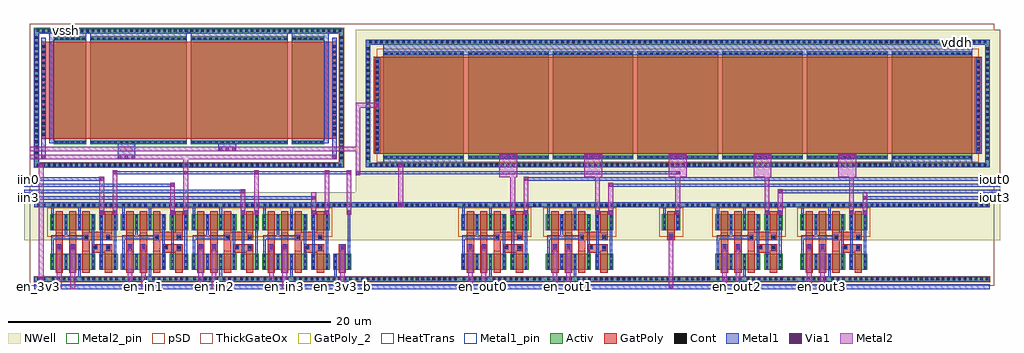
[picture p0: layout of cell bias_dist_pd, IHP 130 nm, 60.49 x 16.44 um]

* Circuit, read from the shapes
.subckt bias_dist_pd en_3v3 en_3v3_b en_in0 en_in1 en_in2 en_in3 en_out0 en_out1 en_out2 en_out3 iin0 iin1 iin2 iin3 iout0 iout1 iout2 iout3 vddh vssh
XM1 vssh n1 vssh vssh sg13_hv_nmos w=2u l=6u m=2
XM2 n2 en_3v3 n3 vssh sg13_hv_nmos w=1u l=0.45u
XM3 vssh en_in0 n2 vssh sg13_hv_nmos w=1u l=0.45u
XM4 n4 n3 vssh vssh sg13_hv_nmos w=1u l=0.45u
XM5 vssh n1 n1 vssh sg13_hv_nmos w=6u l=6u
XM6 n1 n4 iin0 vssh sg13_hv_nmos w=1u l=0.45u
XM7 n5 en_3v3 n6 vssh sg13_hv_nmos w=1u l=0.45u
XM8 vssh en_in1 n5 vssh sg13_hv_nmos w=1u l=0.45u
XM9 n7 n6 vssh vssh sg13_hv_nmos w=1u l=0.45u
XM10 n1 n7 iin1 vssh sg13_hv_nmos w=1u l=0.45u
XM11 vssh n1 n8 vssh sg13_hv_nmos w=6u l=6u
XM12 n9 en_3v3 n10 vssh sg13_hv_nmos w=1u l=0.45u
XM13 vssh en_in2 n9 vssh sg13_hv_nmos w=1u l=0.45u
XM14 n11 n10 vssh vssh sg13_hv_nmos w=1u l=0.45u
XM15 n1 n11 iin2 vssh sg13_hv_nmos w=1u l=0.45u
XM16 n12 en_3v3 n13 vssh sg13_hv_nmos w=1u l=0.45u
XM17 vssh en_in3 n12 vssh sg13_hv_nmos w=1u l=0.45u
XM18 n14 n13 vssh vssh sg13_hv_nmos w=1u l=0.45u
XM19 n1 n14 iin3 vssh sg13_hv_nmos w=1u l=0.45u
XM20 n1 en_3v3_b vssh vssh sg13_hv_nmos w=1u l=0.45u
XM21 n15 en_3v3 n16 vssh sg13_hv_nmos w=1u l=0.45u
XM22 vssh en_out0 n15 vssh sg13_hv_nmos w=1u l=0.45u
XM23 n17 n16 vssh vssh sg13_hv_nmos w=1u l=0.45u
XM24 iout0 n17 n18 vssh sg13_hv_nmos w=1u l=0.45u
XM25 n19 en_3v3 n20 vssh sg13_hv_nmos w=1u l=0.45u
XM26 vssh en_out1 n19 vssh sg13_hv_nmos w=1u l=0.45u
XM27 n21 n20 vssh vssh sg13_hv_nmos w=1u l=0.45u
XM28 iout1 n21 n22 vssh sg13_hv_nmos w=1u l=0.45u
XM29 n23 en_3v3 n24 vssh sg13_hv_nmos w=1u l=0.45u
XM30 vssh en_out2 n23 vssh sg13_hv_nmos w=1u l=0.45u
XM31 n25 n24 vssh vssh sg13_hv_nmos w=1u l=0.45u
XM32 iout2 n25 n26 vssh sg13_hv_nmos w=1u l=0.45u
XM33 n27 en_3v3 n28 vssh sg13_hv_nmos w=1u l=0.45u
XM34 vssh en_out3 n27 vssh sg13_hv_nmos w=1u l=0.45u
XM35 n29 n28 vssh vssh sg13_hv_nmos w=1u l=0.45u
XM36 iout3 n29 n30 vssh sg13_hv_nmos w=1u l=0.45u
XM37 n3 en_3v3 vddh vddh sg13_hv_pmos w=1u l=0.45u
XM38 vddh en_in0 n3 vddh sg13_hv_pmos w=1u l=0.45u
XM39 n4 n3 vddh vddh sg13_hv_pmos w=1u l=0.45u
XM40 n1 n3 iin0 vddh sg13_hv_pmos w=1u l=0.45u
XM41 n6 en_3v3 vddh vddh sg13_hv_pmos w=1u l=0.45u
XM42 vddh en_in1 n6 vddh sg13_hv_pmos w=1u l=0.45u
XM43 n7 n6 vddh vddh sg13_hv_pmos w=1u l=0.45u
XM44 n1 n6 iin1 vddh sg13_hv_pmos w=1u l=0.45u
XM45 n10 en_3v3 vddh vddh sg13_hv_pmos w=1u l=0.45u
XM46 vddh en_in2 n10 vddh sg13_hv_pmos w=1u l=0.45u
XM47 n11 n10 vddh vddh sg13_hv_pmos w=1u l=0.45u
XM48 n1 n10 iin2 vddh sg13_hv_pmos w=1u l=0.45u
XM49 n13 en_3v3 vddh vddh sg13_hv_pmos w=1u l=0.45u
XM50 vddh en_in3 n13 vddh sg13_hv_pmos w=1u l=0.45u
XM51 n14 n13 vddh vddh sg13_hv_pmos w=1u l=0.45u
XM52 n1 n13 iin3 vddh sg13_hv_pmos w=1u l=0.45u
XM53 vddh n8 vddh vddh sg13_hv_pmos w=5u l=6u m=2
XM54 n16 en_3v3 vddh vddh sg13_hv_pmos w=1u l=0.45u
XM55 vddh n8 n18 vddh sg13_hv_pmos w=5u l=6u
XM56 vddh en_out0 n16 vddh sg13_hv_pmos w=1u l=0.45u
XM57 n17 n16 vddh vddh sg13_hv_pmos w=1u l=0.45u
XM58 iout0 n16 n18 vddh sg13_hv_pmos w=1u l=0.45u
XM59 n20 en_3v3 vddh vddh sg13_hv_pmos w=1u l=0.45u
XM60 vddh n8 n22 vddh sg13_hv_pmos w=5u l=6u
XM61 vddh en_out1 n20 vddh sg13_hv_pmos w=1u l=0.45u
XM62 n21 n20 vddh vddh sg13_hv_pmos w=1u l=0.45u
XM63 iout1 n20 n22 vddh sg13_hv_pmos w=1u l=0.45u
XM64 vddh n8 n8 vddh sg13_hv_pmos w=5u l=6u
XM65 n8 en_3v3 vddh vddh sg13_hv_pmos w=1u l=0.45u
XM66 n24 en_3v3 vddh vddh sg13_hv_pmos w=1u l=0.45u
XM67 vddh n8 n26 vddh sg13_hv_pmos w=5u l=6u
XM68 vddh en_out2 n24 vddh sg13_hv_pmos w=1u l=0.45u
XM69 n25 n24 vddh vddh sg13_hv_pmos w=1u l=0.45u
XM70 iout2 n24 n26 vddh sg13_hv_pmos w=1u l=0.45u
XM71 n28 en_3v3 vddh vddh sg13_hv_pmos w=1u l=0.45u
XM72 vddh n8 n30 vddh sg13_hv_pmos w=5u l=6u
XM73 vddh en_out3 n28 vddh sg13_hv_pmos w=1u l=0.45u
XM74 n29 n28 vddh vddh sg13_hv_pmos w=1u l=0.45u
XM75 iout3 n28 n30 vddh sg13_hv_pmos w=1u l=0.45u
.ends

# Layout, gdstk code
from math import pi, radians
import gdstk
lib = gdstk.Library(unit=1e-6, precision=1e-09)
def R(c, l, rs):  # rectangles x0, y0, x1, y1
    for r in rs: c.add(gdstk.rectangle(r[:2], r[2:], *l))
def A(c, l, x, y, w, h, nx, ny, dx, dy):  # array of equal rectangles
    R(c, l, [(x+i*dx, y+j*dy, x+i*dx+w, y+j*dy+h) for i in range(nx) for j in range(ny)])
Activ = (1, 0)
GatPoly = (5, 0)
GatPoly_2 = (5, 2)
Cont = (6, 0)
Metal1 = (8, 0)
Metal1_pin = (8, 2)
Metal2 = (10, 0)
Metal2_pin = (10, 2)
pSD = (14, 0)
Via1 = (19, 0)
NWell = (31, 0)
ThickGateOx = (44, 0)
HeatTrans = (51, 0)

bdp_pmoshv_w2_l0p45_ng2 = lib.new_cell('bdp_pmosHV_w2_l0p45_ng2')
A(bdp_pmoshv_w2_l0p45_ng2, Activ, 0, 0, 0.3, 0.3, 3, 1, 0.83, 0)
R(bdp_pmoshv_w2_l0p45_ng2, Activ, [(0,0,1.96,1)])
R(bdp_pmoshv_w2_l0p45_ng2, GatPoly, [(0.34,-0.18,0.79,1.18), (1.17,-0.18,1.62,1.18)])
R(bdp_pmoshv_w2_l0p45_ng2, GatPoly_2, [(0.34,-0.18,0.79,1.18)])
A(bdp_pmoshv_w2_l0p45_ng2, Cont, 0.07, 0.07, 0.16, 0.16, 3, 3, 0.83, 0.35)
A(bdp_pmoshv_w2_l0p45_ng2, Metal1, 0.07, 0, 0.16, 1, 3, 1, 0.83, 0)
R(bdp_pmoshv_w2_l0p45_ng2, Metal1_pin, [(0.07,0,0.23,1), (0.9,0,1.06,1)])
R(bdp_pmoshv_w2_l0p45_ng2, pSD, [(-0.18,-0.4,2.14,1.4)])
R(bdp_pmoshv_w2_l0p45_ng2, NWell, [(-0.62,-0.62,2.58,1.62)])
R(bdp_pmoshv_w2_l0p45_ng2, ThickGateOx, [(-0.62,-0.62,2.58,1.62)])
R(bdp_pmoshv_w2_l0p45_ng2, HeatTrans, [(0.34,-0.18,0.79,1.18), (1.17,-0.18,1.62,1.18)])
bdp_pmoshv_w2_l0p45_ng2.add(gdstk.Label('pmosHV', (0.565,0.5), layer=63, texttype=0))
bdp_pmoshv_w2_l0p45_ng2.add(gdstk.Label('pmos', (0.565,0.5), layer=51, texttype=0))
bdp_pmoshv_w2_l0p45_ng2.add(gdstk.Label('pmos', (1.395,0.5), layer=51, texttype=0))

bdp_nmoshv_w2_l0p45_ng2 = lib.new_cell('bdp_nmosHV_w2_l0p45_ng2')
A(bdp_nmoshv_w2_l0p45_ng2, Activ, 0, 0, 0.3, 0.3, 3, 1, 0.83, 0)
R(bdp_nmoshv_w2_l0p45_ng2, Activ, [(0,0,1.96,1)])
R(bdp_nmoshv_w2_l0p45_ng2, GatPoly, [(0.34,-0.18,0.79,1.18), (1.17,-0.18,1.62,1.18)])
R(bdp_nmoshv_w2_l0p45_ng2, GatPoly_2, [(0.34,-0.18,0.79,1.18)])
A(bdp_nmoshv_w2_l0p45_ng2, Cont, 0.07, 0.07, 0.16, 0.16, 3, 3, 0.83, 0.35)
A(bdp_nmoshv_w2_l0p45_ng2, Metal1, 0.07, 0, 0.16, 1, 3, 1, 0.83, 0)
R(bdp_nmoshv_w2_l0p45_ng2, Metal1_pin, [(0.07,0,0.23,1), (0.9,0,1.06,1)])
R(bdp_nmoshv_w2_l0p45_ng2, ThickGateOx, [(-0.27,-0.52,2.23,1.52)])
R(bdp_nmoshv_w2_l0p45_ng2, HeatTrans, [(0.34,-0.18,0.79,1.18), (1.17,-0.18,1.62,1.18)])
bdp_nmoshv_w2_l0p45_ng2.add(gdstk.Label('nmosHV', (0.565,0.5), layer=63, texttype=0))
bdp_nmoshv_w2_l0p45_ng2.add(gdstk.Label('nmosHV', (0.565,0.5), layer=51, texttype=0))
bdp_nmoshv_w2_l0p45_ng2.add(gdstk.Label('nmosHV', (1.395,0.5), layer=51, texttype=0))

bdp_nand2_hv = lib.new_cell('bdp_nand2_hv')
R(bdp_nand2_hv, Activ, [(-0.105,0,1.96,0.3), (-0.105,4.6,1.96,4.9)])
R(bdp_nand2_hv, GatPoly, [(0.34,1.91,0.79,2.99), (1.17,1.91,1.62,2.99)])
A(bdp_nand2_hv, Cont, 0.09, 0.07, 0.16, 0.16, 5, 2, 0.34, 4.6)
R(bdp_nand2_hv, Cont, [(0.485,2.04,0.645,2.2), (1.315,2.04,1.475,2.2)])
R(bdp_nand2_hv, Metal1, [(-0.105,0,1.96,0.3), (1.73,0.3,1.89,0.73), (0.07,1.73,0.23,2.87), (0.435,1.97,0.695,2.32), (1.265,1.97,1.525,2.32), (0.07,2.61,1.06,2.87), (0.9,2.61,1.06,3.17), (0.07,4.17,0.23,4.6), (1.73,4.17,1.89,4.6), (-0.105,4.6,1.96,4.9)])
R(bdp_nand2_hv, pSD, [(-0.135,-0.03,1.99,0.33)])
R(bdp_nand2_hv, NWell, [(-0.725,2.55,2.58,5.52)])
R(bdp_nand2_hv, ThickGateOx, [(-0.375,-0.27,2.23,5.17)])
bdp_nand2_hv.add(gdstk.Reference(bdp_pmoshv_w2_l0p45_ng2, (0,3.17)))
bdp_nand2_hv.add(gdstk.Reference(bdp_nmoshv_w2_l0p45_ng2, (0,0.73)))
bdp_nand2_hv.add(gdstk.Label('PA PB', (0.98,3.67), layer=63, texttype=0))
bdp_nand2_hv.add(gdstk.Label('NA NB', (0.98,1.23), layer=63, texttype=0))

bdp_pmoshv_w1_l0p45 = lib.new_cell('bdp_pmosHV_w1_l0p45')
R(bdp_pmoshv_w1_l0p45, Activ, [(0,0,0.3,0.3), (0,0,1.13,1), (0.83,0,1.13,0.3)])
R(bdp_pmoshv_w1_l0p45, GatPoly, [(0.34,-0.18,0.79,1.18)])
R(bdp_pmoshv_w1_l0p45, GatPoly_2, [(0.34,-0.18,0.79,1.18)])
A(bdp_pmoshv_w1_l0p45, Cont, 0.07, 0.07, 0.16, 0.16, 1, 3, 0, 0.35)
A(bdp_pmoshv_w1_l0p45, Cont, 0.9, 0.07, 0.16, 0.16, 1, 3, 0, 0.35)
R(bdp_pmoshv_w1_l0p45, Metal1, [(0.07,0,0.23,1), (0.9,0,1.06,1)])
R(bdp_pmoshv_w1_l0p45, Metal1_pin, [(0.07,0,0.23,1), (0.9,0,1.06,1)])
R(bdp_pmoshv_w1_l0p45, pSD, [(-0.18,-0.4,1.31,1.4)])
R(bdp_pmoshv_w1_l0p45, NWell, [(-0.62,-0.62,1.75,1.62)])
R(bdp_pmoshv_w1_l0p45, ThickGateOx, [(-0.62,-0.62,1.75,1.62)])
R(bdp_pmoshv_w1_l0p45, HeatTrans, [(0.34,-0.18,0.79,1.18)])
bdp_pmoshv_w1_l0p45.add(gdstk.Label('pmosHV', (0.565,0.5), layer=63, texttype=0))
bdp_pmoshv_w1_l0p45.add(gdstk.Label('pmos', (0.565,0.5), layer=51, texttype=0))

bdp_nmoshv_w1_l0p45 = lib.new_cell('bdp_nmosHV_w1_l0p45')
R(bdp_nmoshv_w1_l0p45, Activ, [(0,0,0.3,0.3), (0,0,1.13,1), (0.83,0,1.13,0.3)])
R(bdp_nmoshv_w1_l0p45, GatPoly, [(0.34,-0.18,0.79,1.18)])
R(bdp_nmoshv_w1_l0p45, GatPoly_2, [(0.34,-0.18,0.79,1.18)])
A(bdp_nmoshv_w1_l0p45, Cont, 0.07, 0.07, 0.16, 0.16, 1, 3, 0, 0.35)
A(bdp_nmoshv_w1_l0p45, Cont, 0.9, 0.07, 0.16, 0.16, 1, 3, 0, 0.35)
R(bdp_nmoshv_w1_l0p45, Metal1, [(0.07,0,0.23,1), (0.9,0,1.06,1)])
R(bdp_nmoshv_w1_l0p45, Metal1_pin, [(0.07,0,0.23,1), (0.9,0,1.06,1)])
R(bdp_nmoshv_w1_l0p45, ThickGateOx, [(-0.27,-0.52,1.4,1.52)])
R(bdp_nmoshv_w1_l0p45, HeatTrans, [(0.34,-0.18,0.79,1.18)])
bdp_nmoshv_w1_l0p45.add(gdstk.Label('nmosHV', (0.565,0.5), layer=63, texttype=0))
bdp_nmoshv_w1_l0p45.add(gdstk.Label('nmosHV', (0.565,0.5), layer=51, texttype=0))

bdp_inv_hv = lib.new_cell('bdp_inv_hv')
R(bdp_inv_hv, Activ, [(0,0,1.255,0.3), (0,4.6,1.255,4.9)])
R(bdp_inv_hv, GatPoly, [(0.34,1.91,0.79,2.99)])
A(bdp_inv_hv, Cont, 0.28, 0.07, 0.16, 0.16, 3, 2, 0.34, 4.6)
R(bdp_inv_hv, Cont, [(0.485,2.66,0.645,2.82)])
R(bdp_inv_hv, Metal1, [(0,0,1.255,0.3), (0.07,0.3,0.23,0.73), (0.9,1.73,1.06,3.17), (0.435,2.56,0.695,2.91), (0.07,4.17,0.23,4.6), (0,4.6,1.255,4.9)])
R(bdp_inv_hv, pSD, [(-0.03,-0.03,1.285,0.33)])
R(bdp_inv_hv, NWell, [(-0.62,2.55,1.875,5.52)])
R(bdp_inv_hv, ThickGateOx, [(-0.27,-0.27,1.525,5.17)])
bdp_inv_hv.add(gdstk.Reference(bdp_pmoshv_w1_l0p45, (0,3.17)))
bdp_inv_hv.add(gdstk.Reference(bdp_nmoshv_w1_l0p45, (0,0.73)))
bdp_inv_hv.add(gdstk.Label('P', (0.565,3.67), layer=63, texttype=0))
bdp_inv_hv.add(gdstk.Label('N', (0.565,1.23), layer=63, texttype=0))

bdp_tg_hv = lib.new_cell('bdp_tg_hv')
R(bdp_tg_hv, Activ, [(-0.125,0,1.235,0.3), (-0.125,4.6,1.235,4.9)])
R(bdp_tg_hv, GatPoly, [(0.34,1.91,0.79,2.3), (0.34,2.55,0.79,2.99)])
A(bdp_tg_hv, Cont, -0.035, 0.07, 0.16, 0.16, 4, 2, 0.34, 4.6)
R(bdp_tg_hv, Cont, [(0.485,2.04,0.645,2.2), (0.485,2.66,0.645,2.82)])
R(bdp_tg_hv, Metal1, [(-0.125,0,1.235,0.3), (0.07,1.73,0.23,3.17), (0.9,1.73,1.06,3.17), (0.435,1.94,0.695,2.29), (0.435,2.56,0.695,2.91), (-0.125,4.6,1.235,4.9)])
R(bdp_tg_hv, pSD, [(-0.155,-0.03,1.265,0.33)])
R(bdp_tg_hv, NWell, [(-0.745,2.55,1.855,5.52)])
R(bdp_tg_hv, ThickGateOx, [(-0.395,-0.27,1.505,5.17)])
bdp_tg_hv.add(gdstk.Reference(bdp_pmoshv_w1_l0p45, (0,3.17)))
bdp_tg_hv.add(gdstk.Reference(bdp_nmoshv_w1_l0p45, (0,0.73)))
bdp_tg_hv.add(gdstk.Label('TGP', (0.565,3.67), layer=63, texttype=0))
bdp_tg_hv.add(gdstk.Label('TGN', (0.565,1.23), layer=63, texttype=0))

bdp_slice = lib.new_cell('bdp_slice')
R(bdp_slice, GatPoly, [(2.63,1.8,3.83,2.3), (2,2.55,3.83,3.1)])
R(bdp_slice, Cont, [(2.7,2.04,2.86,2.2)])
R(bdp_slice, Metal1, [(-0.105,-0.47,4.275,-0.18), (2.56,1.99,2.91,2.25), (1.06,2.61,2.095,2.87), (3.085,4.13,3.295,4.42), (3.915,4.13,4.125,4.42)])
R(bdp_slice, Metal2, [(0.42,-0.47,0.71,2.26), (1.25,-0.47,1.54,2.26), (3.045,4.13,3.335,5.52), (3.875,4.13,4.165,5.52)])
R(bdp_slice, Via1, [(0.47,-0.42,0.66,-0.23), (0.47,2.02,0.66,2.21), (1.3,2.02,1.49,2.21), (3.095,4.18,3.285,4.37), (3.925,4.18,4.115,4.37)])
bdp_slice.add(gdstk.Reference(bdp_nand2_hv, (0,0)))
bdp_slice.add(gdstk.Reference(bdp_inv_hv, (1.66,0)))
bdp_slice.add(gdstk.Reference(bdp_tg_hv, (3.04,0)))

bdp_tdn = lib.new_cell('bdp_tdn')
R(bdp_tdn, Activ, [(-0.125,0,1.235,0.3), (-0.125,4.6,1.235,4.9)])
R(bdp_tdn, GatPoly, [(0.34,1.91,0.79,2.3)])
A(bdp_tdn, Cont, -0.035, 0.07, 0.16, 0.16, 4, 2, 0.34, 4.6)
R(bdp_tdn, Cont, [(0.485,2.04,0.645,2.2)])
R(bdp_tdn, Metal1, [(-0.125,-0.47,1.235,-0.18), (-0.125,0,1.235,0.3), (0.07,0.3,0.23,0.73), (0.9,1.73,1.06,4.13), (0.435,1.97,0.695,2.32), (0.875,4.13,1.085,4.42), (-0.125,4.6,1.235,4.9)])
R(bdp_tdn, Metal2, [(0.42,-0.47,0.71,2.26), (0.835,4.13,1.125,5.52)])
R(bdp_tdn, pSD, [(-0.155,-0.03,1.265,0.33)])
R(bdp_tdn, Via1, [(0.47,2.02,0.66,2.21), (0.885,4.18,1.075,4.37)])
R(bdp_tdn, NWell, [(-0.745,2.55,1.855,5.52)])
R(bdp_tdn, ThickGateOx, [(-0.395,-0.27,1.505,5.17)])
bdp_tdn.add(gdstk.Reference(bdp_nmoshv_w1_l0p45, (0,0.73)))
bdp_tdn.add(gdstk.Label('TDN', (0.565,1.23), layer=63, texttype=0))

bdp_svpd = lib.new_cell('bdp_svpd')
R(bdp_svpd, Activ, [(-0.125,0,1.235,0.3), (-0.125,4.6,1.235,4.9)])
R(bdp_svpd, GatPoly, [(0.34,2.55,0.79,2.99)])
A(bdp_svpd, Cont, -0.035, 0.07, 0.16, 0.16, 4, 2, 0.34, 4.6)
R(bdp_svpd, Cont, [(0.485,2.66,0.645,2.82)])
R(bdp_svpd, Metal1, [(-0.125,-0.47,1.235,-0.18), (-0.125,0,1.235,0.3), (0.435,2.59,0.695,2.94), (0.875,4.13,1.085,4.42), (0.07,4.17,0.23,4.6), (-0.125,4.6,1.235,4.9)])
R(bdp_svpd, Metal2, [(0.42,-0.47,0.71,2.88), (0.835,4.13,1.125,5.52)])
R(bdp_svpd, pSD, [(-0.155,-0.03,1.265,0.33)])
R(bdp_svpd, Via1, [(0.47,-0.42,0.66,-0.23), (0.47,2.64,0.66,2.83), (0.885,4.18,1.075,4.37)])
R(bdp_svpd, NWell, [(-0.745,2.55,1.855,5.52)])
R(bdp_svpd, ThickGateOx, [(-0.395,-0.27,1.505,5.17)])
bdp_svpd.add(gdstk.Reference(bdp_pmoshv_w1_l0p45, (0,3.17)))
bdp_svpd.add(gdstk.Label('SVPD', (0.565,3.67), layer=63, texttype=0))

bdp_nmoshv = lib.new_cell('bdp_nmosHV')
R(bdp_nmoshv, Activ, [(0,0,0.3,0.3), (0,0,6.68,2), (6.38,0,6.68,0.3)])
R(bdp_nmoshv, GatPoly, [(0.34,-0.18,6.34,2.18)])
R(bdp_nmoshv, GatPoly_2, [(0.34,-0.18,6.34,2.18)])
A(bdp_nmoshv, Cont, 0.07, 0.07, 0.16, 0.16, 1, 6, 0, 0.34)
A(bdp_nmoshv, Cont, 6.45, 0.07, 0.16, 0.16, 1, 6, 0, 0.34)
R(bdp_nmoshv, Metal1, [(0.07,0,0.23,2), (6.45,0,6.61,2)])
R(bdp_nmoshv, Metal1_pin, [(0.07,0,0.23,2), (6.45,0,6.61,2)])
R(bdp_nmoshv, ThickGateOx, [(-0.27,-0.52,6.95,2.52)])
R(bdp_nmoshv, HeatTrans, [(0.34,-0.18,6.34,2.18)])
bdp_nmoshv.add(gdstk.Label('nmosHV', (3.34,1), layer=63, texttype=0))
bdp_nmoshv.add(gdstk.Label('nmosHV', (3.34,1), layer=51, texttype=0))

bdp_nmoshv_1 = lib.new_cell('bdp_nmosHV_1')
R(bdp_nmoshv_1, Activ, [(0,0,0.3,0.3), (0,0,6.68,6), (6.38,0,6.68,0.3)])
R(bdp_nmoshv_1, GatPoly, [(0.34,-0.18,6.34,6.18)])
R(bdp_nmoshv_1, GatPoly_2, [(0.34,-0.18,6.34,6.18)])
A(bdp_nmoshv_1, Cont, 0.07, 0.07, 0.16, 0.16, 1, 4, 0, 0.355)
A(bdp_nmoshv_1, Cont, 6.45, 0.07, 0.16, 0.16, 1, 4, 0, 0.355)
A(bdp_nmoshv_1, Cont, 0.07, 1.495, 0.16, 0.16, 1, 4, 0, 0.355)
A(bdp_nmoshv_1, Cont, 6.45, 1.495, 0.16, 0.16, 1, 4, 0, 0.355)
A(bdp_nmoshv_1, Cont, 0.07, 2.92, 0.16, 0.16, 1, 4, 0, 0.355)
A(bdp_nmoshv_1, Cont, 6.45, 2.92, 0.16, 0.16, 1, 4, 0, 0.355)
A(bdp_nmoshv_1, Cont, 0.07, 4.345, 0.16, 0.16, 1, 4, 0, 0.355)
A(bdp_nmoshv_1, Cont, 6.45, 4.345, 0.16, 0.16, 1, 4, 0, 0.355)
R(bdp_nmoshv_1, Cont, [(0.07,5.77,0.23,5.93), (6.45,5.77,6.61,5.93)])
R(bdp_nmoshv_1, Metal1, [(0.07,0,0.23,6), (6.45,0,6.61,6)])
R(bdp_nmoshv_1, Metal1_pin, [(0.07,0,0.23,6), (6.45,0,6.61,6)])
R(bdp_nmoshv_1, ThickGateOx, [(-0.27,-0.52,6.95,6.52)])
R(bdp_nmoshv_1, HeatTrans, [(0.34,-0.18,6.34,6.18)])
bdp_nmoshv_1.add(gdstk.Label('nmosHV', (3.34,3), layer=63, texttype=0))
bdp_nmoshv_1.add(gdstk.Label('nmosHV', (3.34,3), layer=51, texttype=0))

bdp_mirror_n = lib.new_cell('bdp_mirror_n')
R(bdp_mirror_n, Activ, [(-1.23,-0.51,17.98,-0.21), (-1.23,-0.51,-0.93,8.12), (17.68,-0.51,17.98,8.12), (-1.23,7.82,17.98,8.12)])
R(bdp_mirror_n, GatPoly, [(-0.79,0.34,-0.1,6.34), (16.85,0.34,17.54,6.34)])
A(bdp_mirror_n, Cont, -1.055, -0.44, 0.16, 0.16, 56, 2, 0.34, 8.33)
A(bdp_mirror_n, Cont, -1.16, -0.015, 0.16, 0.16, 1, 23, 0, 0.34)
A(bdp_mirror_n, Cont, 17.75, -0.015, 0.16, 0.16, 1, 23, 0, 0.34)
A(bdp_mirror_n, Cont, -0.72, 0.54, 0.16, 0.16, 1, 17, 0, 0.34)
A(bdp_mirror_n, Cont, 17.31, 0.54, 0.16, 0.16, 1, 17, 0, 0.34)
R(bdp_mirror_n, Metal1, [(-1.21,-0.49,17.96,-0.23), (-1.21,-0.49,-0.95,8.1), (17.7,-0.49,17.96,8.1), (-0.29,-0.23,0,6.61), (0,-0.23,2,0.23), (2.25,-0.23,8.25,0.23), (8.5,-0.23,14.5,0.23), (14.75,-0.23,16.75,0.23), (16.75,-0.23,17.04,6.61), (-0.77,0.07,-0.51,7.62), (17.26,0.07,17.52,7.62), (3.945,6.45,5.055,7.62), (10.195,6.45,11.305,7.12), (-1.21,7.84,17.96,8.1)])
R(bdp_mirror_n, Metal2, [(-1.5,6.83,17.535,7.12), (-1.5,7.33,17.535,7.62)])
R(bdp_mirror_n, pSD, [(-1.26,-0.54,18.01,-0.18), (-1.26,-0.54,-0.9,8.15), (17.65,-0.54,18.01,8.15), (-1.26,7.79,18.01,8.15)])
A(bdp_mirror_n, Via1, 10.245, 6.88, 0.19, 0.19, 3, 1, 0.41, 0)
A(bdp_mirror_n, Via1, 3.995, 7.38, 0.19, 0.19, 3, 1, 0.41, 0)
R(bdp_mirror_n, Via1, [(-0.735,7.38,-0.545,7.57), (17.295,7.38,17.485,7.57)])
R(bdp_mirror_n, ThickGateOx, [(-1.5,-0.78,18.25,8.39)])
bdp_mirror_n.add(gdstk.Reference(bdp_nmoshv, (0,6.68), rotation=3*pi/2))
bdp_mirror_n.add(gdstk.Reference(bdp_nmoshv, (16.75,6.68), rotation=3*pi/2, x_reflection=True))
bdp_mirror_n.add(gdstk.Reference(bdp_nmoshv_1, (2.25,6.68), rotation=3*pi/2))
bdp_mirror_n.add(gdstk.Reference(bdp_nmoshv_1, (14.5,6.68), rotation=3*pi/2, x_reflection=True))
bdp_mirror_n.add(gdstk.Label('dummy', (1,3.34), layer=63, texttype=0))
bdp_mirror_n.add(gdstk.Label('NI', (5.25,3.34), layer=63, texttype=0))
bdp_mirror_n.add(gdstk.Label('NM', (11.5,3.34), layer=63, texttype=0))
bdp_mirror_n.add(gdstk.Label('dummy', (15.75,3.34), layer=63, texttype=0))

bdp_pmoshv_w5_l6 = lib.new_cell('bdp_pmosHV_w5_l6')
R(bdp_pmoshv_w5_l6, Activ, [(0,0,0.3,0.3), (0,0,6.68,5), (6.38,0,6.68,0.3)])
R(bdp_pmoshv_w5_l6, GatPoly, [(0.34,-0.18,6.34,5.18)])
R(bdp_pmoshv_w5_l6, GatPoly_2, [(0.34,-0.18,6.34,5.18)])
A(bdp_pmoshv_w5_l6, Cont, 0.07, 0.07, 0.16, 0.16, 1, 4, 0, 0.36)
A(bdp_pmoshv_w5_l6, Cont, 6.45, 0.07, 0.16, 0.16, 1, 4, 0, 0.36)
A(bdp_pmoshv_w5_l6, Cont, 0.07, 1.515, 0.16, 0.16, 1, 3, 0, 0.36)
A(bdp_pmoshv_w5_l6, Cont, 6.45, 1.515, 0.16, 0.16, 1, 3, 0, 0.36)
A(bdp_pmoshv_w5_l6, Cont, 0.07, 2.6, 0.16, 0.16, 1, 3, 0, 0.36)
A(bdp_pmoshv_w5_l6, Cont, 6.45, 2.6, 0.16, 0.16, 1, 3, 0, 0.36)
A(bdp_pmoshv_w5_l6, Cont, 0.07, 3.685, 0.16, 0.16, 1, 3, 0, 0.36)
A(bdp_pmoshv_w5_l6, Cont, 6.45, 3.685, 0.16, 0.16, 1, 3, 0, 0.36)
R(bdp_pmoshv_w5_l6, Cont, [(0.07,4.77,0.23,4.93), (6.45,4.77,6.61,4.93)])
R(bdp_pmoshv_w5_l6, Metal1, [(0.07,0,0.23,5), (6.45,0,6.61,5)])
R(bdp_pmoshv_w5_l6, Metal1_pin, [(0.07,0,0.23,5), (6.45,0,6.61,5)])
R(bdp_pmoshv_w5_l6, pSD, [(-0.18,-0.4,6.86,5.4)])
R(bdp_pmoshv_w5_l6, NWell, [(-0.62,-0.62,7.3,5.62)])
R(bdp_pmoshv_w5_l6, ThickGateOx, [(-0.62,-0.62,7.3,5.62)])
R(bdp_pmoshv_w5_l6, HeatTrans, [(0.34,-0.18,6.34,5.18)])
bdp_pmoshv_w5_l6.add(gdstk.Label('pmosHV', (3.34,2.5), layer=63, texttype=0))
bdp_pmoshv_w5_l6.add(gdstk.Label('pmos', (3.34,2.5), layer=51, texttype=0))

bdp_mirror_p = lib.new_cell('bdp_mirror_p')
R(bdp_mirror_p, Activ, [(0.62,0.62,39.32,0.92), (0.62,0.92,0.92,8.24), (39.02,0.92,39.32,8.24), (0.62,8.24,39.32,8.54)])
R(bdp_mirror_p, GatPoly, [(1.12,1.47,1.72,7.47), (38.22,1.47,38.82,7.47)])
A(bdp_mirror_p, Cont, 0.85, 0.69, 0.16, 0.16, 113, 2, 0.34, 7.62)
A(bdp_mirror_p, Cont, 0.69, 1.1, 0.16, 0.16, 1, 21, 0, 0.34)
A(bdp_mirror_p, Cont, 39.09, 1.1, 0.16, 0.16, 1, 21, 0, 0.34)
A(bdp_mirror_p, Cont, 1.26, 1.67, 0.16, 0.16, 1, 17, 0, 0.34)
A(bdp_mirror_p, Cont, 38.52, 1.67, 0.16, 0.16, 1, 17, 0, 0.34)
A(bdp_mirror_p, Metal1, 8.915, 1.14, 1.11, 0.29, 5, 1, 5.25, 0)
R(bdp_mirror_p, Metal1, [(0,0.19,20.12,0.4), (0.62,0.62,39.32,0.92), (0.62,0.92,0.92,8.24), (1.72,0.92,6.72,1.36), (33.22,0.92,38.22,1.36), (39.02,0.92,39.32,8.24), (1.21,1.49,1.47,7.45), (38.47,1.49,38.73,7.45), (1.72,7.58,38.22,8.54), (0.62,8.24,39.32,8.54)])
A(bdp_mirror_p, Metal2, 8.915, 0, 1.11, 1.43, 5, 1, 5.25, 0)
R(bdp_mirror_p, Metal2, [(0,0.15,0.29,4.62), (0,4.32,1.47,4.62)])
A(bdp_mirror_p, Via1, 8.965, 1.19, 0.19, 0.19, 3, 1, 0.41, 0)
A(bdp_mirror_p, Via1, 14.215, 1.19, 0.19, 0.19, 3, 1, 0.41, 0)
A(bdp_mirror_p, Via1, 19.465, 1.19, 0.19, 0.19, 3, 1, 0.41, 0)
A(bdp_mirror_p, Via1, 24.715, 1.19, 0.19, 0.19, 3, 1, 0.41, 0)
A(bdp_mirror_p, Via1, 29.965, 1.19, 0.19, 0.19, 3, 1, 0.41, 0)
R(bdp_mirror_p, Via1, [(0.05,0.2,0.24,0.39), (19.875,0.2,20.065,0.39), (1.245,4.375,1.435,4.565)])
R(bdp_mirror_p, NWell, [(0,0,39.94,9.16)])
R(bdp_mirror_p, ThickGateOx, [(0,0,39.94,9.16)])
bdp_mirror_p.add(gdstk.Reference(bdp_pmoshv_w5_l6, (1.72,7.81), rotation=3*pi/2))
bdp_mirror_p.add(gdstk.Reference(bdp_pmoshv_w5_l6, (6.97,7.81), rotation=3*pi/2))
bdp_mirror_p.add(gdstk.Reference(bdp_pmoshv_w5_l6, (12.22,7.81), rotation=3*pi/2))
bdp_mirror_p.add(gdstk.Reference(bdp_pmoshv_w5_l6, (17.47,7.81), rotation=3*pi/2))
bdp_mirror_p.add(gdstk.Reference(bdp_pmoshv_w5_l6, (27.72,7.81), rotation=3*pi/2, x_reflection=True))
bdp_mirror_p.add(gdstk.Reference(bdp_pmoshv_w5_l6, (32.97,7.81), rotation=3*pi/2, x_reflection=True))
bdp_mirror_p.add(gdstk.Reference(bdp_pmoshv_w5_l6, (38.22,7.81), rotation=3*pi/2, x_reflection=True))
bdp_mirror_p.add(gdstk.Label('D', (4.22,4.47), layer=63, texttype=0))
bdp_mirror_p.add(gdstk.Label('PO0', (9.47,4.47), layer=63, texttype=0))
bdp_mirror_p.add(gdstk.Label('PO1', (14.72,4.47), layer=63, texttype=0))
bdp_mirror_p.add(gdstk.Label('PD', (19.97,4.47), layer=63, texttype=0))
bdp_mirror_p.add(gdstk.Label('PO2', (25.22,4.47), layer=63, texttype=0))
bdp_mirror_p.add(gdstk.Label('PO3', (30.47,4.47), layer=63, texttype=0))
bdp_mirror_p.add(gdstk.Label('D', (35.72,4.47), layer=63, texttype=0))

bdp_fill0 = lib.new_cell('bdp_fill0')
R(bdp_fill0, Activ, [(0,0,0.9,0.3), (0,4.6,0.9,4.9)])
R(bdp_fill0, Cont, [(0.2,0.07,0.36,0.23), (0.54,0.07,0.7,0.23), (0.2,4.67,0.36,4.83), (0.54,4.67,0.7,4.83)])
R(bdp_fill0, Metal1, [(0,-0.47,0.9,-0.18), (0,0,0.9,0.3), (0,4.6,0.9,4.9)])
R(bdp_fill0, pSD, [(-0.03,-0.03,0.93,0.33)])
R(bdp_fill0, NWell, [(-0.62,2.55,1.52,5.52)])
R(bdp_fill0, ThickGateOx, [(-0.27,-0.27,1.17,5.17)])

bdp_fill1 = lib.new_cell('bdp_fill1')
R(bdp_fill1, Activ, [(0,0,6.595,0.3), (0,4.6,6.595,4.9)])
A(bdp_fill1, Cont, 0.155, 0.07, 0.16, 0.16, 19, 2, 0.34, 4.6)
R(bdp_fill1, Metal1, [(0,-0.47,6.595,-0.18), (0,0,6.595,0.3), (0,4.6,6.595,4.9)])
R(bdp_fill1, pSD, [(-0.03,-0.03,6.625,0.33)])
R(bdp_fill1, NWell, [(-0.62,2.55,7.215,5.52)])
R(bdp_fill1, ThickGateOx, [(-0.27,-0.27,6.865,5.17)])

bdp_fill2 = lib.new_cell('bdp_fill2')
R(bdp_fill2, Activ, [(0,0,0.87,0.3), (0,4.6,0.87,4.9)])
R(bdp_fill2, Cont, [(0.185,0.07,0.345,0.23), (0.525,0.07,0.685,0.23), (0.185,4.67,0.345,4.83), (0.525,4.67,0.685,4.83)])
R(bdp_fill2, Metal1, [(0,-0.47,0.87,-0.18), (0,0,0.87,0.3), (0,4.6,0.87,4.9)])
R(bdp_fill2, pSD, [(-0.03,-0.03,0.9,0.33)])
R(bdp_fill2, NWell, [(-0.62,2.55,1.49,5.52)])
R(bdp_fill2, ThickGateOx, [(-0.27,-0.27,1.14,5.17)])

bdp_fill3 = lib.new_cell('bdp_fill3')
R(bdp_fill3, Activ, [(0,0,2.79,0.3), (0,4.6,2.79,4.9)])
A(bdp_fill3, Cont, 0.125, 0.07, 0.16, 0.16, 8, 2, 0.34, 4.6)
R(bdp_fill3, Metal1, [(0,-0.47,2.79,-0.18), (0,0,2.79,0.3), (0,4.6,2.79,4.9)])
R(bdp_fill3, pSD, [(-0.03,-0.03,2.82,0.33)])
R(bdp_fill3, NWell, [(-0.62,2.55,3.41,5.52)])
R(bdp_fill3, ThickGateOx, [(-0.27,-0.27,3.06,5.17)])

bdp_fill4 = lib.new_cell('bdp_fill4')
R(bdp_fill4, Activ, [(0,0,1.97,0.3), (0,4.6,1.97,4.9)])
A(bdp_fill4, Cont, 0.225, 0.07, 0.16, 0.16, 5, 2, 0.34, 4.6)
R(bdp_fill4, Metal1, [(0,-0.47,1.97,-0.18), (0,0,1.97,0.3), (0,4.6,1.97,4.9)])
R(bdp_fill4, pSD, [(-0.03,-0.03,2,0.33)])
R(bdp_fill4, NWell, [(-0.62,2.55,2.59,5.52)])
R(bdp_fill4, ThickGateOx, [(-0.27,-0.27,2.24,5.17)])

bdp_fill5 = lib.new_cell('bdp_fill5')
R(bdp_fill5, Activ, [(0,0,0.87,0.3), (0,4.6,0.87,4.9)])
R(bdp_fill5, Cont, [(0.185,0.07,0.345,0.23), (0.525,0.07,0.685,0.23), (0.185,4.67,0.345,4.83), (0.525,4.67,0.685,4.83)])
R(bdp_fill5, Metal1, [(0,-0.47,0.87,-0.18), (0,0,0.87,0.3), (0,4.6,0.87,4.9)])
R(bdp_fill5, pSD, [(-0.03,-0.03,0.9,0.33)])
R(bdp_fill5, NWell, [(-0.62,2.55,1.49,5.52)])
R(bdp_fill5, ThickGateOx, [(-0.27,-0.27,1.14,5.17)])

bdp_fill6 = lib.new_cell('bdp_fill6')
R(bdp_fill6, Activ, [(0,0,7.495,0.3), (0,4.6,7.495,4.9)])
A(bdp_fill6, Cont, 0.095, 0.07, 0.16, 0.16, 22, 2, 0.34, 4.6)
R(bdp_fill6, Metal1, [(0,-0.47,7.495,-0.18), (0,0,7.495,0.3), (0,4.6,7.495,4.9)])
R(bdp_fill6, pSD, [(-0.03,-0.03,7.525,0.33)])
R(bdp_fill6, NWell, [(-0.62,2.55,8.115,5.52)])
R(bdp_fill6, ThickGateOx, [(-0.27,-0.27,7.765,5.17)])

bias_dist_pd = lib.new_cell('bias_dist_pd')
R(bias_dist_pd, Metal1, [(-0.35,5.08,17.755,5.29), (51.62,5.08,60.14,5.29), (-0.35,5.47,13.375,5.68), (46.37,5.47,60.14,5.68), (-0.35,5.86,8.995,6.07), (35.87,5.86,60.14,6.07), (-0.35,6.25,4.615,6.46), (30.62,6.25,60.14,6.46), (5.145,6.64,19.945,6.85)])
A(bias_dist_pd, Metal1_pin, -0.35, 5.08, 0.5, 0.21, 1, 4, 0, 0.39)
A(bias_dist_pd, Metal1_pin, 59.64, 5.08, 0.5, 0.21, 1, 4, 0, 0.39)
R(bias_dist_pd, Metal1_pin, [(0.27,-0.47,0.77,-0.18), (56.52,14.69,58.52,14.99), (1.27,15.42,3.27,15.68)])
A(bias_dist_pd, Metal2, 5.15, 5.22, 0.29, 1.67, 4, 1, 4.38, 0)
R(bias_dist_pd, Metal2, [(0.575,0.005,0.865,7.325), (22.855,4.605,23.145,7.325), (4.32,5.22,4.61,6.5), (8.7,5.22,8.99,6.11), (13.08,5.22,13.37,5.72), (17.46,5.22,17.75,5.33), (19.65,5.22,19.94,6.89), (29.795,5.22,30.085,6.75), (30.625,5.22,30.915,6.5), (35.045,5.22,35.335,6.75), (35.875,5.22,36.165,6.11), (40.025,5.22,40.315,6.75), (45.545,5.22,45.835,6.75), (46.375,5.22,46.665,5.72), (50.795,5.22,51.085,6.75), (51.625,5.22,51.915,5.33), (9.53,6.6,9.82,7.86), (18.98,8.07,20.49,8.36)])
A(bias_dist_pd, Metal2_pin, 2.525, -0.47, 0.29, 0.3, 4, 1, 4.38, 0)
R(bias_dist_pd, Metal2_pin, [(19.235,-0.47,19.525,-0.17), (28,-0.47,28.29,-0.17), (33.25,-0.47,33.54,-0.17), (43.75,-0.47,44.04,-0.17), (49,-0.47,49.29,-0.17)])
A(bias_dist_pd, Via1, 5.2, 6.65, 0.19, 0.19, 4, 1, 4.38, 0)
R(bias_dist_pd, Via1, [(0.625,0.055,0.815,0.245), (22.905,4.655,23.095,4.845), (17.51,5.09,17.7,5.28), (51.675,5.09,51.865,5.28), (13.13,5.48,13.32,5.67), (46.425,5.48,46.615,5.67), (8.75,5.87,8.94,6.06), (35.925,5.87,36.115,6.06), (4.37,6.26,4.56,6.45), (30.675,6.26,30.865,6.45), (19.7,6.65,19.89,6.84), (0.625,7.125,0.815,7.315), (22.905,7.125,23.095,7.315)])
R(bias_dist_pd, NWell, [(20.2,5.42,60.14,6.55)])
R(bias_dist_pd, ThickGateOx, [(0,-0.27,59.79,15.97)])
bias_dist_pd.add(gdstk.Reference(bdp_slice, (47.75,0)))
bias_dist_pd.add(gdstk.Reference(bdp_slice, (1.275,0)))
bias_dist_pd.add(gdstk.Reference(bdp_slice, (5.655,0)))
bias_dist_pd.add(gdstk.Reference(bdp_slice, (10.035,0)))
bias_dist_pd.add(gdstk.Reference(bdp_slice, (14.415,0)))
bias_dist_pd.add(gdstk.Reference(bdp_slice, (42.5,0)))
bias_dist_pd.add(gdstk.Reference(bdp_slice, (26.75,0)))
bias_dist_pd.add(gdstk.Reference(bdp_slice, (32,0)))
bias_dist_pd.add(gdstk.Reference(bdp_tdn, (18.815,0)))
bias_dist_pd.add(gdstk.Reference(bdp_svpd, (39.19,0)))
bias_dist_pd.add(gdstk.Reference(bdp_mirror_n, (1.5,15.19), x_reflection=True))
bias_dist_pd.add(gdstk.Reference(bdp_mirror_p, (20.2,6.45)))
bias_dist_pd.add(gdstk.Reference(bdp_fill0, (0.27,0)))
bias_dist_pd.add(gdstk.Reference(bdp_fill1, (20.05,0)))
bias_dist_pd.add(gdstk.Reference(bdp_fill2, (31.025,0)))
bias_dist_pd.add(gdstk.Reference(bdp_fill3, (36.275,0)))
bias_dist_pd.add(gdstk.Reference(bdp_fill4, (40.425,0)))
bias_dist_pd.add(gdstk.Reference(bdp_fill5, (46.775,0)))
bias_dist_pd.add(gdstk.Reference(bdp_fill6, (52.025,0)))
bias_dist_pd.add(gdstk.Label('iin0', (-0.1,6.355), layer=8, texttype=25))
bias_dist_pd.add(gdstk.Label('iin1', (-0.1,5.965), layer=8, texttype=25))
bias_dist_pd.add(gdstk.Label('iin2', (-0.1,5.575), layer=8, texttype=25))
bias_dist_pd.add(gdstk.Label('iin3', (-0.1,5.185), layer=8, texttype=25))
bias_dist_pd.add(gdstk.Label('iout0', (59.89,6.355), layer=8, texttype=25))
bias_dist_pd.add(gdstk.Label('iout1', (59.89,5.965), layer=8, texttype=25))
bias_dist_pd.add(gdstk.Label('iout2', (59.89,5.575), layer=8, texttype=25))
bias_dist_pd.add(gdstk.Label('iout3', (59.89,5.185), layer=8, texttype=25))
bias_dist_pd.add(gdstk.Label('en_3v3', (0.52,-0.325), layer=8, texttype=25))
bias_dist_pd.add(gdstk.Label('vssh', (2.27,15.55), layer=8, texttype=25))
bias_dist_pd.add(gdstk.Label('vddh', (57.52,14.84), layer=8, texttype=25))
bias_dist_pd.add(gdstk.Label('en_in0', (2.67,-0.32), layer=10, texttype=25))
bias_dist_pd.add(gdstk.Label('en_in1', (7.05,-0.32), layer=10, texttype=25))
bias_dist_pd.add(gdstk.Label('en_in2', (11.43,-0.32), layer=10, texttype=25))
bias_dist_pd.add(gdstk.Label('en_in3', (15.81,-0.32), layer=10, texttype=25))
bias_dist_pd.add(gdstk.Label('en_3v3_b', (19.38,-0.32), layer=10, texttype=25))
bias_dist_pd.add(gdstk.Label('en_out0', (28.145,-0.32), layer=10, texttype=25))
bias_dist_pd.add(gdstk.Label('en_out1', (33.395,-0.32), layer=10, texttype=25))
bias_dist_pd.add(gdstk.Label('en_out2', (43.895,-0.32), layer=10, texttype=25))
bias_dist_pd.add(gdstk.Label('en_out3', (49.145,-0.32), layer=10, texttype=25))

lib.write_gds('bias_dist_pd.gds')
